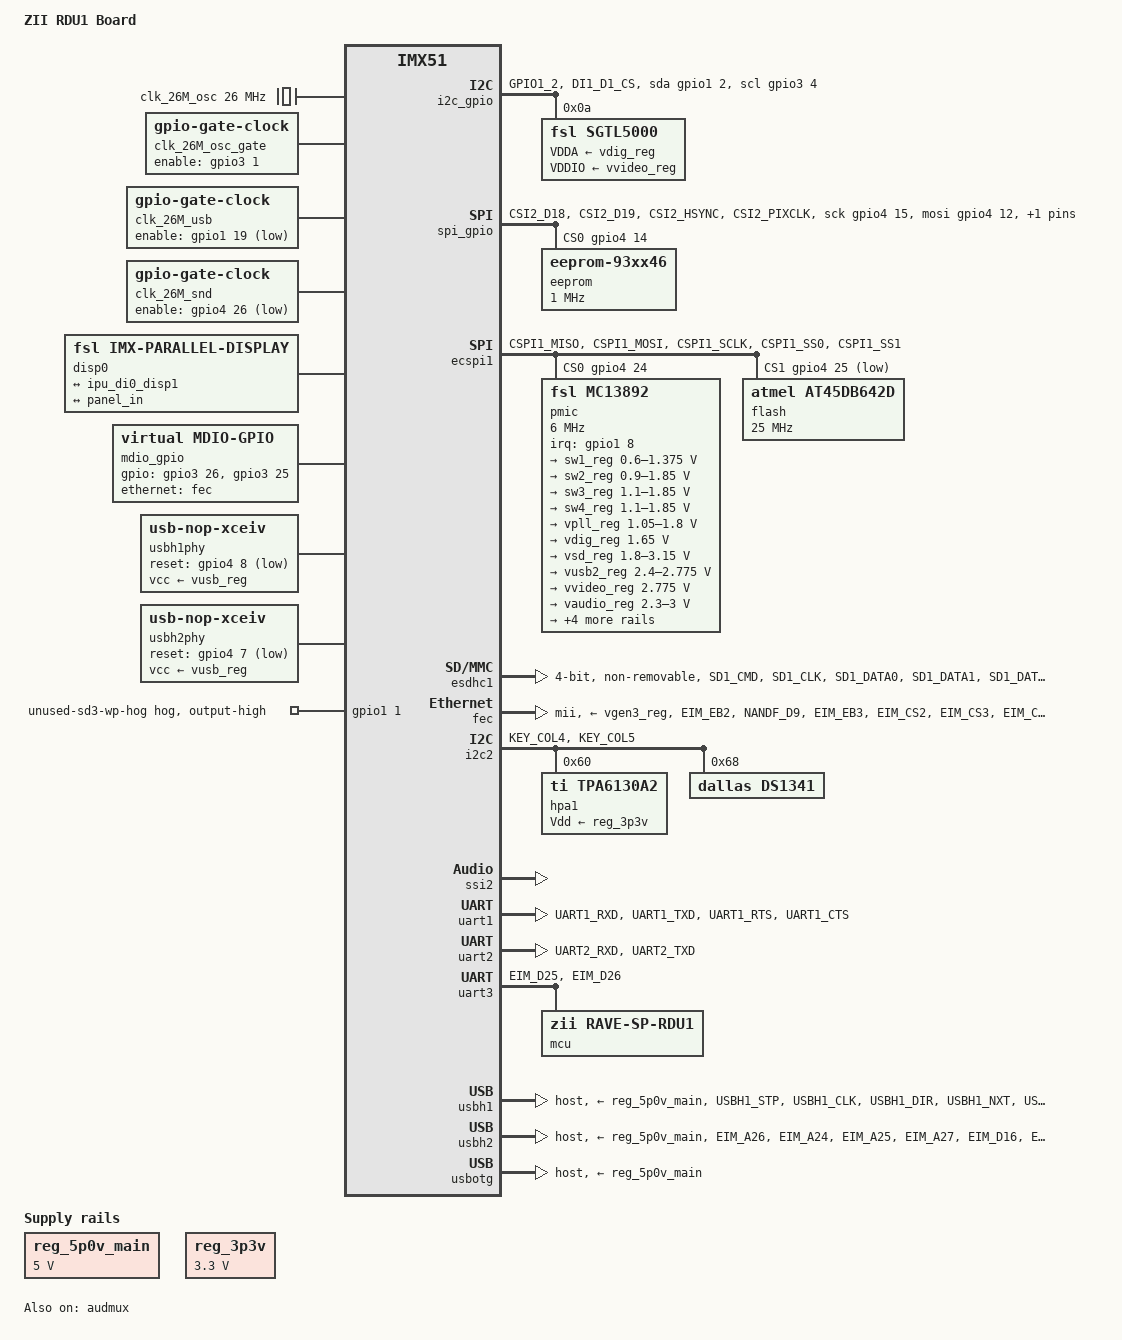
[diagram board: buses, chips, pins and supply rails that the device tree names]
// SPDX-License-Identifier: (GPL-2.0 OR MIT)
/*
 * Copyright (C) 2017 Zodiac Inflight Innovations
 */

/dts-v1/;
#include "imx51.dtsi"
#include <dt-bindings/sound/fsl-imx-audmux.h>

/ {
	model = "ZII RDU1 Board";
	compatible = "zii,imx51-rdu1", "fsl,imx51";

	chosen {
		stdout-path = &uart1;
	};

	/* Will be filled by the bootloader */
	memory@90000000 {
		device_type = "memory";
		reg = <0x90000000 0>;
	};

	aliases {
		mdio-gpio0 = &mdio_gpio;
		rtc0 = &ds1341;
	};

	clk_26M_osc: 26M_osc {
		compatible = "fixed-clock";
		#clock-cells = <0>;
		clock-frequency = <26000000>;
	};

	clk_26M_osc_gate: 26M_gate {
		compatible = "gpio-gate-clock";
		pinctrl-names = "default";
		pinctrl-0 = <&pinctrl_clk26mhz>;
		clocks = <&clk_26M_osc>;
		#clock-cells = <0>;
		enable-gpios = <&gpio3 1 GPIO_ACTIVE_HIGH>;
	};

	clk_26M_usb: usbhost_gate {
		compatible = "gpio-gate-clock";
		pinctrl-names = "default";
		pinctrl-0 = <&pinctrl_usbgate26mhz>;
		clocks = <&clk_26M_osc_gate>;
		#clock-cells = <0>;
		enable-gpios = <&gpio1 19 GPIO_ACTIVE_LOW>;
	};

	clk_26M_snd: snd_gate {
		compatible = "gpio-gate-clock";
		pinctrl-names = "default";
		pinctrl-0 = <&pinctrl_sndgate26mhz>;
		clocks = <&clk_26M_osc_gate>;
		#clock-cells = <0>;
		enable-gpios = <&gpio4 26 GPIO_ACTIVE_LOW>;
	};

	reg_5p0v_main: regulator-5p0v-main {
		compatible = "regulator-fixed";
		regulator-name = "5V_MAIN";
		regulator-min-microvolt = <5000000>;
		regulator-max-microvolt = <5000000>;
		regulator-always-on;
	};

	reg_3p3v: regulator-3p3v {
		compatible = "regulator-fixed";
		regulator-name = "3.3V";
		regulator-min-microvolt = <3300000>;
		regulator-max-microvolt = <3300000>;
		regulator-always-on;
	};

	disp0 {
		compatible = "fsl,imx-parallel-display";
		pinctrl-names = "default";
		pinctrl-0 = <&pinctrl_ipu_disp1>;

		#address-cells = <1>;
		#size-cells = <0>;

		port@0 {
			reg = <0>;

			display_in: endpoint {
				remote-endpoint = <&ipu_di0_disp1>;
			};
		};

		port@1 {
			reg = <1>;

			display_out: endpoint {
				remote-endpoint = <&panel_in>;
			};
		};
	};

	panel {
		/* no compatible here, bootloader will patch in correct one */
		pinctrl-names = "default";
		pinctrl-0 = <&pinctrl_panel>;
		power-supply = <&reg_3p3v>;
		enable-gpios = <&gpio3 3 GPIO_ACTIVE_HIGH>;
		status = "disabled";

		port {
			panel_in: endpoint {
				remote-endpoint = <&display_out>;
			};
		};
	};

	i2c_gpio: i2c-gpio {
		compatible = "i2c-gpio";
		pinctrl-names = "default";
		pinctrl-0 = <&pinctrl_swi2c>;
		gpios = <&gpio1 2 GPIO_ACTIVE_HIGH>, /* sda */
			<&gpio3 4 GPIO_ACTIVE_HIGH>; /* scl */
		i2c-gpio,delay-us = <50>;
		status = "okay";

		#address-cells = <1>;
		#size-cells = <0>;

		sgtl5000: codec@a {
			compatible = "fsl,sgtl5000";
			reg = <0x0a>;
			clocks = <&clk_26M_snd>;
			VDDA-supply = <&vdig_reg>;
			VDDIO-supply = <&vvideo_reg>;
			#sound-dai-cells = <0>;
		};
	};

	spi_gpio: spi {
		compatible = "spi-gpio";
		#address-cells = <1>;
		#size-cells = <0>;
		pinctrl-names = "default";
		pinctrl-0 = <&pinctrl_gpiospi0>;
		status = "okay";

		sck-gpios = <&gpio4 15 GPIO_ACTIVE_HIGH>;
		mosi-gpios = <&gpio4 12 GPIO_ACTIVE_HIGH>;
		miso-gpios = <&gpio4 11 GPIO_ACTIVE_HIGH>;
		num-chipselects = <1>;
		cs-gpios = <&gpio4 14 GPIO_ACTIVE_HIGH>;

		eeprom@0 {
			compatible = "eeprom-93xx46";
			reg = <0>;
			spi-max-frequency = <1000000>;
			spi-cs-high;
			data-size = <8>;
		};
	};

	mdio_gpio: mdio-gpio {
		compatible = "virtual,mdio-gpio";
		pinctrl-names = "default";
		pinctrl-0 = <&pinctrl_swmdio>;
		gpios = <&gpio3 26 GPIO_ACTIVE_HIGH>, /* mdc */
			<&gpio3 25 GPIO_ACTIVE_HIGH>; /* mdio */

		#address-cells = <1>;
		#size-cells = <0>;

		switch@0 {
			compatible = "marvell,mv88e6085";
			reg = <0>;
			dsa,member = <0 0>;

			ports {
				#address-cells = <1>;
				#size-cells = <0>;

				port@0 {
					reg = <0>;
					phy-mode = "rev-mii";
					ethernet = <&fec>;

					fixed-link {
						speed = <100>;
						full-duplex;
					};
				};

				port@1 {
					reg = <1>;
					label = "netaux";
				};

				port@3 {
					reg = <3>;
					label = "netright";
				};

				port@4 {
					reg = <4>;
					label = "netleft";
				};
			};
		};
	};

	sound {
		compatible = "simple-audio-card";
		simple-audio-card,name = "Front";
		simple-audio-card,format = "i2s";
		simple-audio-card,bitclock-master = <&sound_codec>;
		simple-audio-card,frame-master = <&sound_codec>;
		simple-audio-card,widgets =
			"Headphone", "Headphone Jack";
		simple-audio-card,routing =
			"Headphone Jack", "TPA6130A2 HPLEFT",
			"Headphone Jack", "TPA6130A2 HPRIGHT";
		simple-audio-card,aux-devs = <&hpa1>;

		sound_cpu: simple-audio-card,cpu {
			sound-dai = <&ssi2>;
		};

		sound_codec: simple-audio-card,codec {
			sound-dai = <&sgtl5000>;
			clocks = <&clk_26M_snd>;
		};
	};

	usbh1phy: usbphy1 {
		compatible = "usb-nop-xceiv";
		pinctrl-names = "default";
		pinctrl-0 = <&pinctrl_usbh1phy>;
		clocks = <&clk_26M_usb>;
		clock-names = "main_clk";
		reset-gpios = <&gpio4 8 GPIO_ACTIVE_LOW>;
		vcc-supply = <&vusb_reg>;
		#phy-cells = <0>;
	};

	usbh2phy: usbphy2 {
		compatible = "usb-nop-xceiv";
		pinctrl-names = "default";
		pinctrl-0 = <&pinctrl_usbh2phy>;
		clocks = <&clk_26M_usb>;
		clock-names = "main_clk";
		reset-gpios = <&gpio4 7 GPIO_ACTIVE_LOW>;
		vcc-supply = <&vusb_reg>;
		#phy-cells = <0>;
	};
};

&audmux {
	pinctrl-names = "default";
	pinctrl-0 = <&pinctrl_audmux>;
	status = "okay";

	ssi2 {
		fsl,audmux-port = <1>;
		fsl,port-config = <
			(IMX_AUDMUX_V2_PTCR_SYN |
			 IMX_AUDMUX_V2_PTCR_TFSEL(2) |
			 IMX_AUDMUX_V2_PTCR_TCSEL(2) |
			 IMX_AUDMUX_V2_PTCR_TFSDIR |
			 IMX_AUDMUX_V2_PTCR_TCLKDIR)
			IMX_AUDMUX_V2_PDCR_RXDSEL(2)
		>;
	};

	aud3 {
		fsl,audmux-port = <2>;
		fsl,port-config = <
			IMX_AUDMUX_V2_PTCR_SYN
			IMX_AUDMUX_V2_PDCR_RXDSEL(1)
		>;
	};
};

&cpu {
	cpu-supply = <&sw1_reg>;
};

&ecspi1 {
	pinctrl-names = "default";
	pinctrl-0 = <&pinctrl_ecspi1>;
	cs-gpios = <&gpio4 24 GPIO_ACTIVE_HIGH>,
		   <&gpio4 25 GPIO_ACTIVE_LOW>;
	status = "okay";

	pmic@0 {
		compatible = "fsl,mc13892";
		pinctrl-names = "default";
		pinctrl-0 = <&pinctrl_pmic>;
		spi-max-frequency = <6000000>;
		spi-cs-high;
		reg = <0>;
		interrupt-parent = <&gpio1>;
		interrupts = <8 IRQ_TYPE_LEVEL_HIGH>;
		fsl,mc13xxx-uses-adc;

		regulators {
			sw1_reg: sw1 {
				regulator-min-microvolt = <600000>;
				regulator-max-microvolt = <1375000>;
				regulator-boot-on;
				regulator-always-on;
			};

			sw2_reg: sw2 {
				regulator-min-microvolt = <900000>;
				regulator-max-microvolt = <1850000>;
				regulator-boot-on;
				regulator-always-on;
			};

			sw3_reg: sw3 {
				regulator-min-microvolt = <1100000>;
				regulator-max-microvolt = <1850000>;
				regulator-boot-on;
				regulator-always-on;
			};

			sw4_reg: sw4 {
				regulator-min-microvolt = <1100000>;
				regulator-max-microvolt = <1850000>;
				regulator-boot-on;
				regulator-always-on;
			};

			vpll_reg: vpll {
				regulator-min-microvolt = <1050000>;
				regulator-max-microvolt = <1800000>;
				regulator-boot-on;
				regulator-always-on;
			};

			vdig_reg: vdig {
				regulator-min-microvolt = <1650000>;
				regulator-max-microvolt = <1650000>;
				regulator-boot-on;
			};

			vsd_reg: vsd {
				regulator-min-microvolt = <1800000>;
				regulator-max-microvolt = <3150000>;
			};

			vusb_reg: vusb {
				regulator-always-on;
			};

			vusb2_reg: vusb2 {
				regulator-min-microvolt = <2400000>;
				regulator-max-microvolt = <2775000>;
				regulator-boot-on;
				regulator-always-on;
			};

			vvideo_reg: vvideo {
				regulator-min-microvolt = <2775000>;
				regulator-max-microvolt = <2775000>;
			};

			vaudio_reg: vaudio {
				regulator-min-microvolt = <2300000>;
				regulator-max-microvolt = <3000000>;
			};

			vcam_reg: vcam {
				regulator-min-microvolt = <2500000>;
				regulator-max-microvolt = <3000000>;
			};

			vgen1_reg: vgen1 {
				regulator-min-microvolt = <1200000>;
				regulator-max-microvolt = <1200000>;
			};

			vgen2_reg: vgen2 {
				regulator-min-microvolt = <1200000>;
				regulator-max-microvolt = <3150000>;
				regulator-always-on;
			};

			vgen3_reg: vgen3 {
				regulator-min-microvolt = <1800000>;
				regulator-max-microvolt = <2900000>;
				regulator-always-on;
			};
		};

		leds {
			#address-cells = <1>;
			#size-cells = <0>;
			led-control = <0x0 0x0 0x3f83f8 0x0>;

			sysled0@3 {
				reg = <3>;
				label = "system:green:status";
				linux,default-trigger = "default-on";
			};

			sysled1@4 {
				reg = <4>;
				label = "system:green:act";
				linux,default-trigger = "heartbeat";
			};
		};
	};

	flash@1 {
		#address-cells = <1>;
		#size-cells = <1>;
		compatible = "atmel,at45db642d", "atmel,at45", "atmel,dataflash";
		spi-max-frequency = <25000000>;
		reg = <1>;
	};
};

&esdhc1 {
	pinctrl-names = "default";
	pinctrl-0 = <&pinctrl_esdhc1>;
	bus-width = <4>;
	no-1-8-v;
	non-removable;
	no-sdio;
	no-sd;
	status = "okay";
};

&fec {
	pinctrl-names = "default";
	pinctrl-0 = <&pinctrl_fec>;
	phy-mode = "mii";
	phy-reset-gpios = <&gpio2 14 GPIO_ACTIVE_LOW>;
	phy-supply = <&vgen3_reg>;
	status = "okay";
};

&gpio1 {
	gpio-line-names = "", "", "", "",
			  "", "", "", "",
			  "", "hp-amp-shutdown-b", "", "",
			  "", "", "", "",
			  "", "", "", "",
			  "", "", "", "",
			  "", "", "", "",
			  "", "", "", "";

	unused-sd3-wp-hog {
		/*
		 * See pinctrl_esdhc1 below for more details on this
		 */
		gpio-hog;
		gpios = <1 GPIO_ACTIVE_HIGH>;
		output-high;
	};
};

&i2c2 {
	pinctrl-names = "default";
	pinctrl-0 = <&pinctrl_i2c2>;
	status = "okay";

	hpa1: amp@60 {
		compatible = "ti,tpa6130a2";
		reg = <0x60>;
		Vdd-supply = <&reg_3p3v>;
		sound-name-prefix = "TPA6130A2";
	};

	ds1341: rtc@68 {
		compatible = "dallas,ds1341";
		reg = <0x68>;
	};

	/* touch nodes default disabled, bootloader will enable the right one */

	touchscreen@4b {
		compatible = "atmel,maxtouch";
		reg = <0x4b>;
		pinctrl-names = "default";
		pinctrl-0 = <&pinctrl_ts>;
		interrupt-parent = <&gpio3>;
		interrupts = <12 IRQ_TYPE_LEVEL_LOW>;
		status = "disabled";
	};

	touchscreen@4c {
		compatible = "atmel,maxtouch";
		reg = <0x4c>;
		pinctrl-names = "default";
		pinctrl-0 = <&pinctrl_ts>;
		interrupt-parent = <&gpio3>;
		interrupts = <12 IRQ_TYPE_LEVEL_LOW>;
		status = "disabled";
	};

	touchscreen@20 {
		compatible = "syna,rmi4-i2c";
		reg = <0x20>;
		pinctrl-names = "default";
		pinctrl-0 = <&pinctrl_ts>;
		interrupt-parent = <&gpio3>;
		interrupts = <12 IRQ_TYPE_LEVEL_LOW>;
		status = "disabled";

		#address-cells = <1>;
		#size-cells = <0>;

		rmi4-f01@1 {
			reg = <0x1>;
			syna,nosleep-mode = <2>;
		};

		rmi4-f11@11 {
			reg = <0x11>;
			touchscreen-inverted-x;
			touchscreen-swapped-x-y;
			syna,sensor-type = <1>;
		};
	};

};

&ipu_di0_disp1 {
	remote-endpoint = <&display_in>;
};

&pmu {
	secure-reg-access;
};

&ssi2 {
	status = "okay";
};

&uart1 {
	pinctrl-names = "default";
	pinctrl-0 = <&pinctrl_uart1>;
	status = "okay";
};

&uart2 {
	pinctrl-names = "default";
	pinctrl-0 = <&pinctrl_uart2>;
	status = "okay";
};

&uart3 {
	pinctrl-names = "default";
	pinctrl-0 = <&pinctrl_uart3>;
	status = "okay";

	mcu {
		compatible = "zii,rave-sp-rdu1";
		current-speed = <38400>;
		#address-cells = <1>;
		#size-cells = <1>;

		watchdog {
			compatible = "zii,rave-sp-watchdog";
		};

		backlight {
			compatible = "zii,rave-sp-backlight";
		};

		pwrbutton {
			compatible = "zii,rave-sp-pwrbutton";
		};

		eeprom@a3 {
			compatible = "zii,rave-sp-eeprom";
			reg = <0xa3 0x2000>;
			#address-cells = <1>;
			#size-cells = <1>;
			zii,eeprom-name = "dds-eeprom";
		};

		eeprom@a4 {
			compatible = "zii,rave-sp-eeprom";
			reg = <0xa4 0x4000>;
			#address-cells = <1>;
			#size-cells = <1>;
			zii,eeprom-name = "main-eeprom";
		};

		eeprom@ae {
			compatible = "zii,rave-sp-eeprom";
			reg = <0xae 0x200>;
			zii,eeprom-name = "switch-eeprom";
			/*
			 * Not all RDU1s have this functionality, so we
			 * rely on the bootloader to enable this
			 */
			status = "disabled";
		};
	};
};

&usbh1 {
	pinctrl-names = "default";
	pinctrl-0 = <&pinctrl_usbh1>;
	dr_mode = "host";
	phy_type = "ulpi";
	fsl,usbphy = <&usbh1phy>;
	disable-over-current;
	maximum-speed = "full-speed";
	vbus-supply = <&reg_5p0v_main>;
	status = "okay";
};

&usbh2 {
	pinctrl-names = "default";
	pinctrl-0 = <&pinctrl_usbh2>;
	dr_mode = "host";
	phy_type = "ulpi";
	fsl,usbphy = <&usbh2phy>;
	disable-over-current;
	vbus-supply = <&reg_5p0v_main>;
	status = "okay";
};

&usbphy0 {
	vcc-supply = <&vusb_reg>;
};

&usbotg {
	dr_mode = "host";
	disable-over-current;
	phy_type = "utmi_wide";
	vbus-supply = <&reg_5p0v_main>;
	status = "okay";
};

&wdog1 {
	status = "disabled";
};

&iomuxc {
	pinctrl-names = "default";
	pinctrl-0 = <&pinctrl_hog>;

	pinctrl_hog: hoggrp {
		fsl,pins = <
			MX51_PAD_GPIO1_9__GPIO1_9		0x5e
		>;
	};

	pinctrl_audmux: audmuxgrp {
		fsl,pins = <
			MX51_PAD_AUD3_BB_TXD__AUD3_TXD		0xa5
			MX51_PAD_AUD3_BB_RXD__AUD3_RXD		0x85
			MX51_PAD_AUD3_BB_CK__AUD3_TXC		0xa5
			MX51_PAD_AUD3_BB_FS__AUD3_TXFS		0x85
		>;
	};

	pinctrl_clk26mhz: clk26mhzgrp {
		fsl,pins = <
			MX51_PAD_DI1_PIN12__GPIO3_1		0x85
		>;
	};

	pinctrl_ecspi1: ecspi1grp {
		fsl,pins = <
			MX51_PAD_CSPI1_MISO__ECSPI1_MISO	0x185
			MX51_PAD_CSPI1_MOSI__ECSPI1_MOSI	0x185
			MX51_PAD_CSPI1_SCLK__ECSPI1_SCLK	0x185
			MX51_PAD_CSPI1_SS0__GPIO4_24		0x85
			MX51_PAD_CSPI1_SS1__GPIO4_25		0x85
		>;
	};

	pinctrl_esdhc1: esdhc1grp {
		fsl,pins = <
			MX51_PAD_SD1_CMD__SD1_CMD		0x400020d5
			MX51_PAD_SD1_CLK__SD1_CLK		0x20d5
			MX51_PAD_SD1_DATA0__SD1_DATA0		0x20d5
			MX51_PAD_SD1_DATA1__SD1_DATA1		0x20d5
			MX51_PAD_SD1_DATA2__SD1_DATA2		0x20d5
			MX51_PAD_SD1_DATA3__SD1_DATA3		0x20d5
			/*
			 * GPIO1_1 is not directly used by eSDHC1 in
			 * any capacity, but earlier versions of RDU1
			 * used that pin as WP GPIO for eSDHC3 and
			 * because of that that pad has an external
			 * pull-up resistor. This is problematic
			 * because out of reset the pad is configured
			 * as ALT0 which serves as SD1_WP, which, when
			 * pulled high by and external pull-up, will
			 * inhibit execution of any write request to
			 * attached eMMC device.
			 *
			 * To avoid this problem we configure the pad
			 * to ALT1/GPIO and avoid driving SD1_WP
			 * signal high.
			 */
			MX51_PAD_GPIO1_1__GPIO1_1		0x0000
		>;
	};

	pinctrl_fec: fecgrp {
		fsl,pins = <
			MX51_PAD_EIM_EB2__FEC_MDIO		0x1f5
			MX51_PAD_NANDF_D9__FEC_RDATA0		0x2180
			MX51_PAD_EIM_EB3__FEC_RDATA1		0x180
			MX51_PAD_EIM_CS2__FEC_RDATA2		0x180
			MX51_PAD_EIM_CS3__FEC_RDATA3		0x180
			MX51_PAD_EIM_CS4__FEC_RX_ER		0x180
			MX51_PAD_NANDF_D11__FEC_RX_DV		0x2084
			MX51_PAD_EIM_CS5__FEC_CRS		0x180
			MX51_PAD_NANDF_RB2__FEC_COL		0x2180
			MX51_PAD_NANDF_RB3__FEC_RX_CLK		0x2180
			MX51_PAD_NANDF_CS2__FEC_TX_ER		0x2004
			MX51_PAD_NANDF_CS3__FEC_MDC		0x2004
			MX51_PAD_NANDF_D8__FEC_TDATA0		0x2180
			MX51_PAD_NANDF_CS4__FEC_TDATA1		0x2004
			MX51_PAD_NANDF_CS5__FEC_TDATA2		0x2004
			MX51_PAD_NANDF_CS6__FEC_TDATA3		0x2004
			MX51_PAD_DISP2_DAT9__FEC_TX_EN		0x2004
			MX51_PAD_DISP2_DAT13__FEC_TX_CLK	0x2180
			MX51_PAD_EIM_A20__GPIO2_14		0x85
		>;
	};

	pinctrl_gpiospi0: gpiospi0grp {
		fsl,pins = <
			MX51_PAD_CSI2_D18__GPIO4_11		0x85
			MX51_PAD_CSI2_D19__GPIO4_12		0x85
			MX51_PAD_CSI2_HSYNC__GPIO4_14		0x85
			MX51_PAD_CSI2_PIXCLK__GPIO4_15		0x85
		>;
	};

	pinctrl_i2c2: i2c2grp {
		fsl,pins = <
			MX51_PAD_KEY_COL4__I2C2_SCL		0x400001ed
			MX51_PAD_KEY_COL5__I2C2_SDA		0x400001ed
		>;
	};

	pinctrl_ipu_disp1: ipudisp1grp {
		fsl,pins = <
			MX51_PAD_DISP1_DAT0__DISP1_DAT0		0x5
			MX51_PAD_DISP1_DAT1__DISP1_DAT1		0x5
			MX51_PAD_DISP1_DAT2__DISP1_DAT2		0x5
			MX51_PAD_DISP1_DAT3__DISP1_DAT3		0x5
			MX51_PAD_DISP1_DAT4__DISP1_DAT4		0x5
			MX51_PAD_DISP1_DAT5__DISP1_DAT5		0x5
			MX51_PAD_DISP1_DAT6__DISP1_DAT6		0x5
			MX51_PAD_DISP1_DAT7__DISP1_DAT7		0x5
			MX51_PAD_DISP1_DAT8__DISP1_DAT8		0x5
			MX51_PAD_DISP1_DAT9__DISP1_DAT9		0x5
			MX51_PAD_DISP1_DAT10__DISP1_DAT10	0x5
			MX51_PAD_DISP1_DAT11__DISP1_DAT11	0x5
			MX51_PAD_DISP1_DAT12__DISP1_DAT12	0x5
			MX51_PAD_DISP1_DAT13__DISP1_DAT13	0x5
			MX51_PAD_DISP1_DAT14__DISP1_DAT14	0x5
			MX51_PAD_DISP1_DAT15__DISP1_DAT15	0x5
			MX51_PAD_DISP1_DAT16__DISP1_DAT16	0x5
			MX51_PAD_DISP1_DAT17__DISP1_DAT17	0x5
			MX51_PAD_DISP1_DAT18__DISP1_DAT18	0x5
			MX51_PAD_DISP1_DAT19__DISP1_DAT19	0x5
			MX51_PAD_DISP1_DAT20__DISP1_DAT20	0x5
			MX51_PAD_DISP1_DAT21__DISP1_DAT21	0x5
			MX51_PAD_DISP1_DAT22__DISP1_DAT22	0x5
			MX51_PAD_DISP1_DAT23__DISP1_DAT23	0x5
			MX51_PAD_DI1_PIN2__DI1_PIN2		0x5
			MX51_PAD_DI1_PIN3__DI1_PIN3		0x5
			MX51_PAD_DI2_DISP_CLK__DI2_DISP_CLK	0x5
		>;
	};

	pinctrl_panel: panelgrp {
		fsl,pins = <
			MX51_PAD_DI1_D0_CS__GPIO3_3		0x85
		>;
	};

	pinctrl_pmic: pmicgrp {
		fsl,pins = <
			MX51_PAD_GPIO1_4__GPIO1_4		0x1e0
			MX51_PAD_GPIO1_8__GPIO1_8		0x21e2
		>;
	};

	pinctrl_sndgate26mhz: sndgate26mhzgrp {
		fsl,pins = <
			MX51_PAD_CSPI1_RDY__GPIO4_26		0x85
		>;
	};

	pinctrl_swi2c: swi2cgrp {
		fsl,pins = <
			MX51_PAD_GPIO1_2__GPIO1_2		0xc5
			MX51_PAD_DI1_D1_CS__GPIO3_4		0x400001f5
		>;
	};

	pinctrl_swmdio: swmdiogrp {
		fsl,pins = <
			MX51_PAD_NANDF_D14__GPIO3_26		0x21e6
			MX51_PAD_NANDF_D15__GPIO3_25		0x21e6
		>;
	};

	pinctrl_ts: tsgrp {
		fsl,pins = <
			MX51_PAD_CSI1_D8__GPIO3_12		0x04
			MX51_PAD_CSI1_D9__GPIO3_13		0x85
		>;
	};

	pinctrl_uart1: uart1grp {
		fsl,pins = <
			MX51_PAD_UART1_RXD__UART1_RXD		0x1c5
			MX51_PAD_UART1_TXD__UART1_TXD		0x1c5
			MX51_PAD_UART1_RTS__UART1_RTS		0x1c4
			MX51_PAD_UART1_CTS__UART1_CTS		0x1c4
		>;
	};

	pinctrl_uart2: uart2grp {
		fsl,pins = <
			MX51_PAD_UART2_RXD__UART2_RXD		0xc5
			MX51_PAD_UART2_TXD__UART2_TXD		0xc5
		>;
	};

	pinctrl_uart3: uart3grp {
		fsl,pins = <
			MX51_PAD_EIM_D25__UART3_RXD		0x1c5
			MX51_PAD_EIM_D26__UART3_TXD		0x1c5
		>;
	};

	pinctrl_usbgate26mhz: usbgate26mhzgrp {
		fsl,pins = <
			MX51_PAD_DISP2_DAT6__GPIO1_19		0x85
		>;
	};

	pinctrl_usbh1: usbh1grp {
		fsl,pins = <
			MX51_PAD_USBH1_STP__USBH1_STP		0x0
			MX51_PAD_USBH1_CLK__USBH1_CLK		0x0
			MX51_PAD_USBH1_DIR__USBH1_DIR		0x0
			MX51_PAD_USBH1_NXT__USBH1_NXT		0x0
			MX51_PAD_USBH1_DATA0__USBH1_DATA0	0x0
			MX51_PAD_USBH1_DATA1__USBH1_DATA1	0x0
			MX51_PAD_USBH1_DATA2__USBH1_DATA2	0x0
			MX51_PAD_USBH1_DATA3__USBH1_DATA3	0x0
			MX51_PAD_USBH1_DATA4__USBH1_DATA4	0x0
			MX51_PAD_USBH1_DATA5__USBH1_DATA5	0x0
			MX51_PAD_USBH1_DATA6__USBH1_DATA6	0x0
			MX51_PAD_USBH1_DATA7__USBH1_DATA7	0x0
		>;
	};

	pinctrl_usbh1phy: usbh1phygrp {
		fsl,pins = <
			MX51_PAD_NANDF_D0__GPIO4_8		0x85
		>;
	};

	pinctrl_usbh2: usbh2grp {
		fsl,pins = <
			MX51_PAD_EIM_A26__USBH2_STP		0x0
			MX51_PAD_EIM_A24__USBH2_CLK		0x0
			MX51_PAD_EIM_A25__USBH2_DIR		0x0
			MX51_PAD_EIM_A27__USBH2_NXT		0x0
			MX51_PAD_EIM_D16__USBH2_DATA0		0x0
			MX51_PAD_EIM_D17__USBH2_DATA1		0x0
			MX51_PAD_EIM_D18__USBH2_DATA2		0x0
			MX51_PAD_EIM_D19__USBH2_DATA3		0x0
			MX51_PAD_EIM_D20__USBH2_DATA4		0x0
			MX51_PAD_EIM_D21__USBH2_DATA5		0x0
			MX51_PAD_EIM_D22__USBH2_DATA6		0x0
			MX51_PAD_EIM_D23__USBH2_DATA7		0x0
		>;
	};

	pinctrl_usbh2phy: usbh2phygrp {
		fsl,pins = <
			MX51_PAD_NANDF_D1__GPIO4_7		0x85
		>;
	};
};
